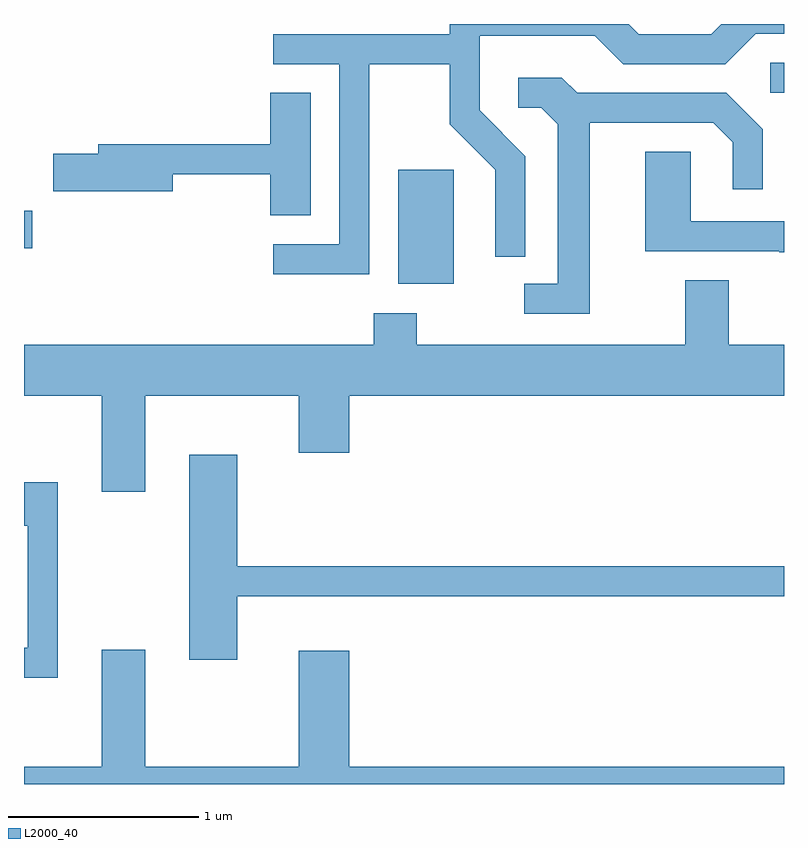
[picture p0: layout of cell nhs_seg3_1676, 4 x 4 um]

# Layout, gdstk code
import gdstk
lib = gdstk.Library(unit=1e-6, precision=1e-09)
def R(c, l, rs):  # rectangles x0, y0, x1, y1
    for r in rs: c.add(gdstk.rectangle(r[:2], r[2:], *l))
def P(c, l, *ps):  # polygons
    for p in ps: c.add(gdstk.Polygon(p, *l))
L2000_40 = (2000, 40)

nhs_seg3_1676 = lib.new_cell('nhs_seg3_1676')
R(nhs_seg3_1676, L2000_40, [(235.581,1206.526,235.874,1207.124), (233.611,1206.711,233.654,1206.909), (237.538,1207.531,237.611,1207.689)])
P(nhs_seg3_1676, L2000_40, [(235.429,1207.681),(235.851,1207.681),(235.851,1207.364),(236.091,1207.124),(236.091,1206.668),(236.249,1206.668),(236.249,1207.197),(236.009,1207.437),(236.009,1207.831),(236.614,1207.831),(236.764,1207.681),(237.302,1207.681),(237.462,1207.841),(237.611,1207.841),(237.611,1207.892),(237.282,1207.892),(237.229,1207.839),(236.847,1207.839),(236.794,1207.892),(235.851,1207.892),(235.851,1207.839),(234.923,1207.839),(234.923,1207.681),(235.271,1207.681),(235.271,1206.734),(234.923,1206.734),(234.923,1206.576),(235.429,1206.576)],
  [(236.589,1207.371),(237.239,1207.371),(237.341,1207.269),(237.341,1207.023),(237.499,1207.023),(237.499,1207.337),(237.307,1207.529),(236.522,1207.529),(236.442,1207.609),(236.213,1207.609),(236.213,1207.451),(236.334,1207.451),(236.421,1207.364),(236.421,1206.524),(236.243,1206.524),(236.243,1206.366),(236.589,1206.366)],
  [(235.119,1207.529),(234.906,1207.529),(234.906,1207.259),(234.001,1207.259),(234.001,1207.209),(233.766,1207.209),(233.766,1207.011),(234.394,1207.011),(234.394,1207.101),(234.906,1207.101),(234.906,1206.886),(235.119,1206.886)],
  [(237.611,1206.854),(237.119,1206.854),(237.119,1207.219),(236.881,1207.219),(236.881,1206.696),(237.585,1206.696),(237.585,1206.691),(237.611,1206.691)],
  [(237.611,1206.204),(237.319,1206.204),(237.319,1206.544),(237.091,1206.544),(237.091,1206.204),(235.679,1206.204),(235.679,1206.369),(235.451,1206.369),(235.451,1206.204),(233.611,1206.204),(233.611,1205.936),(234.021,1205.936),(234.021,1205.431),(234.249,1205.431),(234.249,1205.936),(235.056,1205.936),(235.056,1205.636),(235.324,1205.636),(235.324,1205.936),(237.611,1205.936)],
  [(234.734,1204.881),(237.611,1204.881),(237.611,1205.039),(234.734,1205.039),(234.734,1205.624),(234.481,1205.624),(234.481,1204.546),(234.734,1204.546)],
  [(233.789,1205.479),(233.611,1205.479),(233.611,1205.251),(233.631,1205.251),(233.631,1204.609),(233.611,1204.609),(233.611,1204.451),(233.789,1204.451)],
  [(237.611,1203.984),(235.324,1203.984),(235.324,1204.594),(235.056,1204.594),(235.056,1203.984),(234.249,1203.984),(234.249,1204.599),(234.021,1204.599),(234.021,1203.984),(233.611,1203.984),(233.611,1203.892),(237.611,1203.892)])

lib.write_gds('nhs_seg3_1676.gds')
